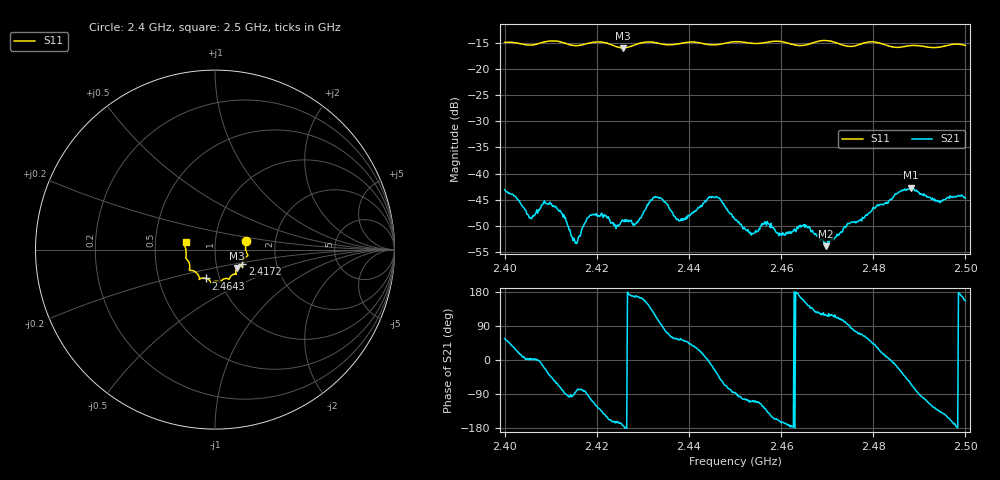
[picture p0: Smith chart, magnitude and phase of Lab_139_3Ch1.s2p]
# Hz S RI R 50
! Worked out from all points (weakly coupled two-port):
!   601 points, 2.4 GHz to 2.5 GHz, reference 50 ohm
!   highest |S21| = -42.69 dB at 2.4882 GHz (marker M1); lowest = -53.9 dB at 2.4697 GHz (marker M2)
!   lowest |S11| = -15.9 dB at 2.4257 GHz (marker M3), VSWR 1.38, Z = 62.5 - j13.1 ohm
!   |S11| at or under -10 dB: start of sweep to end of sweep
!   S12 and S22 are empty: the file has one direction only
!   S11 on the Smith chart (normalised r, x): 2.4 GHz: 1.41, +0.14; 2.4172 GHz: 1.34, -0.22; 2.4643 GHz: 0.86, -0.28; 2.5 GHz: 0.72, +0.06
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2.4e9  0.1734 0.0495  0.00387 0.00581  0 0  0 0
2.4055e9  0.1699 0.0071  0.00379 3.07e-06  0 0  0 0
2.410667e9  0.1833 -0.0339  0.00289 -0.00398  0 0  0 0
2.415333e9  0.1573 -0.0595  0.000134 -0.00215  0 0  0 0
2.416667e9  0.1529 -0.0749  0.000545 -0.00278  0 0  0 0
2.417167e9  0.1523 -0.0806  0.000399 -0.00315  0 0  0 0
2.419333e9  0.1537 -0.0958  -0.00155 -0.0037  0 0  0 0
2.425667e9  0.1227 -0.1025  -0.00355 -0.000439  0 0  0 0
2.428333e9  0.1153 -0.1267  -0.00317 0.000808  0 0  0 0
2.433333e9  0.1125 -0.1365  -0.00151 0.00574  0 0  0 0
2.437667e9  0.0842 -0.1528  0.00218 0.00294  0 0  0 0
2.444833e9  0.0565 -0.1613  0.00572 -0.0013  0 0  0 0
2.45e9  0.0296 -0.181  0.000267 -0.0036  0 0  0 0
2.453667e9  0.0126 -0.1763  -0.000904 -0.00251  0 0  0 0
2.456667e9  -0.0117 -0.1797  -0.00213 -0.00256  0 0  0 0
2.460333e9  -0.0238 -0.1814  -0.00261 -0.000744  0 0  0 0
2.464333e9  -0.0501 -0.1606  -0.00294 0.000877  0 0  0 0
2.466667e9  -0.0764 -0.1599  -0.0021 0.00189  0 0  0 0
2.469667e9  -0.0877 -0.1663  -0.001 0.00175  0 0  0 0
2.483333e9  -0.1409 -0.0895  0.0054 0.000396  0 0  0 0
2.488167e9  -0.1607 -0.05  0.00335 -0.00653  0 0  0 0
2.5e9  -0.1636 0.0417  -0.00532 0.00235  0 0  0 0
